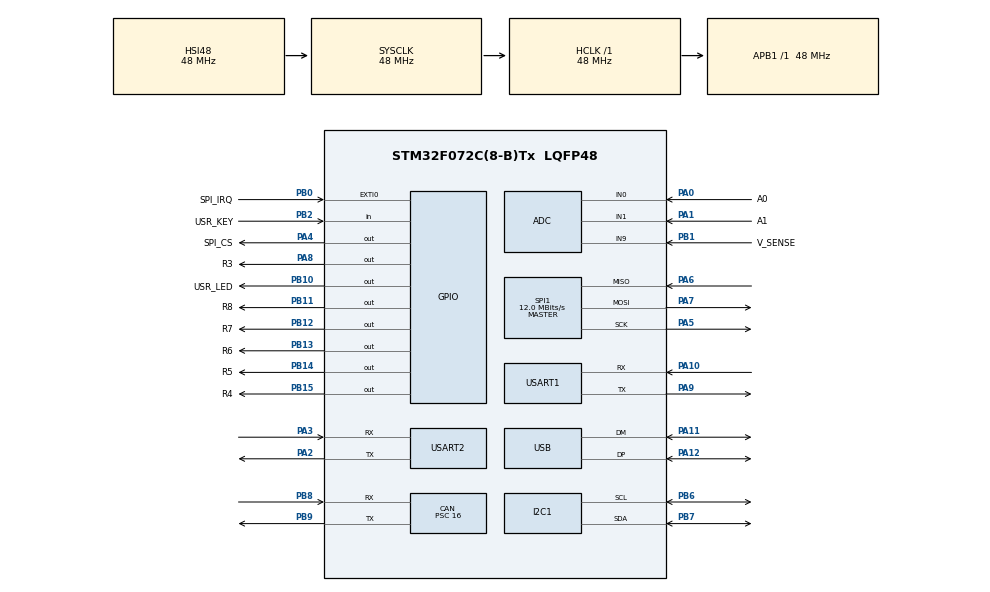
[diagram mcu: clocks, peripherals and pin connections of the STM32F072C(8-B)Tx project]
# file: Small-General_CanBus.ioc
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ADC.ContinuousConvMode=DISABLE
CAN.BS1=CAN_BS1_3TQ
CAN.BS2=CAN_BS2_2TQ
CAN.CalculateBaudRate=500000
CAN.CalculateTimeBit=2000
CAN.CalculateTimeQuantum=333.3333333333333
CAN.Mode=CAN_MODE_NORMAL
CAN.Prescaler=16
CAN.TTCM=DISABLE
Mcu.Family=STM32F0
Mcu.Name=STM32F072C(8-B)Tx
Mcu.Package=LQFP48
NVIC.CEC_CAN_IRQn=true\:0\:0\:false\:false\:true\:true\:true\:true
NVIC.USB_IRQn=true\:0\:0\:false\:false\:true\:false\:true\:true
PA0.GPIO_Label=A0
PA0.Mode=IN0
PA0.Signal=ADC_IN0
PA1.GPIO_Label=A1
PA1.Mode=IN1
PA1.Signal=ADC_IN1
PA10.Mode=Asynchronous
PA10.Signal=USART1_RX
PA11.Mode=Device
PA11.Signal=USB_DM
PA12.Mode=Device
PA12.Signal=USB_DP
PA13.Mode=Serial_Wire
PA13.Signal=SYS_SWDIO
PA14.Mode=Serial_Wire
PA14.Signal=SYS_SWCLK
PA2.Mode=Asynchronous
PA2.Signal=USART2_TX
PA3.Mode=Asynchronous
PA3.Signal=USART2_RX
PA4.GPIO_Label=SPI_CS
PA4.GPIO_PuPd=GPIO_PULLUP
PA4.GPIO_Speed=GPIO_SPEED_FREQ_HIGH
PA4.PinState=GPIO_PIN_SET
PA4.Signal=GPIO_Output
PA5.Mode=Full_Duplex_Master
PA5.Signal=SPI1_SCK
PA6.Mode=Full_Duplex_Master
PA6.Signal=SPI1_MISO
PA7.Mode=Full_Duplex_Master
PA7.Signal=SPI1_MOSI
PA8.GPIO_Label=R3
PA8.Signal=GPIO_Output
PA9.Mode=Asynchronous
PA9.Signal=USART1_TX
PB0.GPIO_Label=SPI_IRQ
PB0.GPIO_ModeDefaultEXTI=GPIO_MODE_IT_RISING_FALLING
PB0.Signal=GPXTI0
PB1.GPIO_Label=V_SENSE
PB1.Mode=IN9
PB1.Signal=ADC_IN9
PB10.GPIO_Label=USR_LED
PB10.GPIO_ModeDefaultOutputPP=GPIO_MODE_OUTPUT_OD
PB10.GPIO_PuPd=GPIO_NOPULL
PB10.Signal=GPIO_Output
PB11.GPIO_Label=R8
PB11.Signal=GPIO_Output
PB12.GPIO_Label=R7
PB12.Signal=GPIO_Output
PB13.GPIO_Label=R6
PB13.Signal=GPIO_Output
PB14.GPIO_Label=R5
PB14.Signal=GPIO_Output
PB15.GPIO_Label=R4
PB15.Signal=GPIO_Output
PB2.GPIO_Label=USR_KEY
PB2.Signal=GPIO_Input
PB6.Mode=I2C
PB6.Signal=I2C1_SCL
PB7.Mode=I2C
PB7.Signal=I2C1_SDA
PB8.Mode=CAN_Activate
PB8.Signal=CAN_RX
PB9.Mode=CAN_Activate
PB9.Signal=CAN_TX
ProjectManager.HeapSize=0x200
ProjectManager.StackSize=0x400
ProjectManager.TargetToolchain=STM32CubeIDE
RCC.AHBFreq_Value=48000000
RCC.APB1Freq_Value=48000000
RCC.APB1TimFreq_Value=48000000
RCC.HCLKFreq_Value=48000000
RCC.SYSCLKFreq_VALUE=48000000
RCC.SYSCLKSource=RCC_SYSCLKSOURCE_HSI48
SPI1.BaudRatePrescaler=SPI_BAUDRATEPRESCALER_4
SPI1.CalculateBaudRate=12.0 MBits/s
SPI1.Direction=SPI_DIRECTION_2LINES
SPI1.Mode=SPI_MODE_MASTER
SPI1.VirtualType=VM_MASTER
USART1.VirtualMode-Asynchronous=VM_ASYNC
USART2.VirtualMode-Asynchronous=VM_ASYNC
USB_DEVICE.CLASS_NAME_FS=CDC
USB_DEVICE.MANUFACTURER_STRING=NVF2
USB_DEVICE.PRODUCT_STRING_CDC_FS=Small-General
USB_DEVICE.VirtualMode=Cdc
USB_DEVICE.VirtualModeFS=Cdc_FS
VP_ADC_TempSens_Input.Mode=IN-TempSens
VP_USB_DEVICE_VS_USB_DEVICE_CDC_FS.Mode=CDC_FS
board=custom

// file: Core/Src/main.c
/* USER CODE BEGIN Header */
/**
  ******************************************************************************
  * @file           : main.c
  * @brief          : Main program body
  ******************************************************************************
  * @attention
  *
  * Copyright (c) 2024 STMicroelectronics.
  * All rights reserved.
  *
  * This software is licensed under terms that can be found in the LICENSE file
  * in the root directory of this software component.
  * If no LICENSE file comes with this software, it is provided AS-IS.
  *
  ******************************************************************************
  */
/* USER CODE END Header */
#include "main.h"
#include "usb_device.h"

/* USER CODE BEGIN Includes */

#include "usbd_cdc_if.h"
#include "stm32f0xx_hal_can.h"
#include "stm32f0xx_it.h"

/* USER CODE END Includes */

ADC_HandleTypeDef hadc;

CAN_HandleTypeDef hcan;

I2C_HandleTypeDef hi2c1;

SPI_HandleTypeDef hspi1;

UART_HandleTypeDef huart1;
UART_HandleTypeDef huart2;

/* USER CODE BEGIN PV */

uint32_t can_id = 0x022;

uint8_t tx_data[4] = {0x11, 0x22, 0x30, 0x40};

uint8_t txData[8];
uint8_t rxData[8];
uint32_t txMailbox;

/* USER CODE END PV */

void SystemClock_Config(void);
static void MX_GPIO_Init(void);
static void MX_ADC_Init(void);
static void MX_CAN_Init(void);
static void MX_I2C1_Init(void);
static void MX_SPI1_Init(void);
static void MX_USART1_UART_Init(void);
static void MX_USART2_UART_Init(void);

/* USER CODE BEGIN 0 */

CAN_FilterTypeDef sFilterConfig;
CAN_TxHeaderTypeDef txHeader;
CAN_RxHeaderTypeDef rxHeader;

/* Function to transmit a CAN message */
void send_can_message(uint32_t id, uint8_t data_length, uint8_t* data) {

  /* Check if data length is within valid range */
  if (data_length > 8) {
    Error_Handler(); // Handle invalid data length
    return;
  }

  /* Configure CAN message header */
  txHeader.IDE = CAN_ID_STD;
  txHeader.StdId = id;
  txHeader.RTR = CAN_RTR_DATA;
  txHeader.DLC = data_length;

  /* Copy data into transmit buffer */
  uint8_t txData[data_length];
  memcpy(txData, data, data_length);

  /* Transmit the CAN message */
  HAL_StatusTypeDef tx_status = HAL_CAN_AddTxMessage(&hcan, &txHeader, txData, &txMailbox);

	if (tx_status != HAL_OK) {
	switch (tx_status) {
	case HAL_ERROR:
	  // Generic hardware error
		CDC_Transmit_FS("CAN: HAL Error\n", strlen("CAN: HAL Error\n"));
	//	        	Error_Handler();
	  break;
	case HAL_BUSY:
	  // CAN peripheral busy
		CDC_Transmit_FS("CAN: Peripheral Busy\n", strlen("CAN: Peripheral Busy\n"));
	//	        	Error_Handler();
	  break;
	case HAL_TIMEOUT:
	  // CAN mailbox timeout
		CDC_Transmit_FS("CAN: Mailbox Timeout\n", strlen("CAN: Mailbox Timeout\n"));
	//	        	Error_Handler();
	  break;
	default:
		CDC_Transmit_FS("CAN: Unknown Error\n", strlen("CAN: Unknown Error\n"));
	//	        	Error_Handler();
	}

	char buf[32];
	uint32_t err_code;
	err_code = HAL_CAN_GetError(&hcan);
	sprintf(buf, "error: %x \n", err_code);
	CDC_Transmit_FS(buf, strlen(buf));

	}

	CDC_Transmit_FS("sending msg\n", strlen("sending msg\n"));

}

/* USER CODE END 0 */

int main(void)
{

  /* MCU Configuration--------------------------------------------------------*/

  /* Reset of all peripherals, Initializes the Flash interface and the Systick. */
  HAL_Init();

  /* Configure the system clock */
  SystemClock_Config();

  /* Initialize all configured peripherals */
  MX_GPIO_Init();
  MX_ADC_Init();
  MX_CAN_Init();
  MX_I2C1_Init();
  MX_SPI1_Init();
  MX_USART1_UART_Init();
  MX_USART2_UART_Init();
  MX_USB_DEVICE_Init();
  /* USER CODE BEGIN 2 */

  sFilterConfig.FilterActivation = ENABLE;
  sFilterConfig.FilterBank = 0; // Filter bank 0 for standard IDs
  sFilterConfig.FilterMode = CAN_FILTERMODE_IDMASK; // Set filter mode to mask
  sFilterConfig.FilterScale = CAN_FILTERSCALE_32BIT; // Use 32-bit filter for standard IDs
  sFilterConfig.FilterIdHigh = 0; // Set all bits to zero for mask
  sFilterConfig.FilterIdLow = 0; // Set all bits to zero for mask
  sFilterConfig.FilterMaskIdHigh = 0xFFFFFFFF; // Set all bits to one for mask
  sFilterConfig.FilterMaskIdLow = 0xFFFFFFFF; // Set all bits to one for mask
  sFilterConfig.FilterFIFOAssignment = CAN_RX_FIFO0; // Assign messages to FIFO0

  HAL_CAN_ConfigFilter(&hcan, &sFilterConfig);

	if (HAL_CAN_ActivateNotification(&hcan, CAN_IT_RX_FIFO0_MSG_PENDING) != HAL_OK)
	{
		Error_Handler();
	}

	if(HAL_CAN_Start(&hcan) != HAL_OK)
	{
		Error_Handler();
	}

  /* USER CODE END 2 */

  /* Infinite loop */
  /* USER CODE BEGIN WHILE */
	uint8_t fifo_level = 0;
	char dbg_buf[64];

  while (1)
  {
    /* USER CODE END WHILE */

    /* USER CODE BEGIN 3 */

	  CDC_Transmit_FS(".\n", strlen(".\n"));

	  if ((tx_data[0]++) > 0xFA) tx_data[0] = 0x01;
	  send_can_message(can_id, sizeof(tx_data), tx_data);

	  fifo_level = HAL_CAN_GetRxFifoFillLevel(&hcan, CAN_RX_FIFO0);
	  sprintf(dbg_buf, "fifo0: %d \n", fifo_level);
	  CDC_Transmit_FS(dbg_buf, strlen(dbg_buf));

	  HAL_Delay(500);
  }
  /* USER CODE END 3 */
}

void SystemClock_Config(void)
{
  RCC_OscInitTypeDef RCC_OscInitStruct = {0};
  RCC_ClkInitTypeDef RCC_ClkInitStruct = {0};
  RCC_PeriphCLKInitTypeDef PeriphClkInit = {0};

  /** Initializes the RCC Oscillators according to the specified parameters
  * in the RCC_OscInitTypeDef structure.
  */
  RCC_OscInitStruct.OscillatorType = RCC_OSCILLATORTYPE_HSI|RCC_OSCILLATORTYPE_HSI14
                              |RCC_OSCILLATORTYPE_HSI48;
  RCC_OscInitStruct.HSIState = RCC_HSI_ON;
  RCC_OscInitStruct.HSI48State = RCC_HSI48_ON;
  RCC_OscInitStruct.HSI14State = RCC_HSI14_ON;
  RCC_OscInitStruct.HSICalibrationValue = RCC_HSICALIBRATION_DEFAULT;
  RCC_OscInitStruct.HSI14CalibrationValue = 16;
  RCC_OscInitStruct.PLL.PLLState = RCC_PLL_NONE;
  if (HAL_RCC_OscConfig(&RCC_OscInitStruct) != HAL_OK)
  {
    Error_Handler();
  }

  /** Initializes the CPU, AHB and APB buses clocks
  */
  RCC_ClkInitStruct.ClockType = RCC_CLOCKTYPE_HCLK|RCC_CLOCKTYPE_SYSCLK
                              |RCC_CLOCKTYPE_PCLK1;
  RCC_ClkInitStruct.SYSCLKSource = RCC_SYSCLKSOURCE_HSI48;
  RCC_ClkInitStruct.AHBCLKDivider = RCC_SYSCLK_DIV1;
  RCC_ClkInitStruct.APB1CLKDivider = RCC_HCLK_DIV1;

  if (HAL_RCC_ClockConfig(&RCC_ClkInitStruct, FLASH_LATENCY_1) != HAL_OK)
  {
    Error_Handler();
  }
  PeriphClkInit.PeriphClockSelection = RCC_PERIPHCLK_USB|RCC_PERIPHCLK_USART1
                              |RCC_PERIPHCLK_USART2|RCC_PERIPHCLK_I2C1;
  PeriphClkInit.Usart1ClockSelection = RCC_USART1CLKSOURCE_PCLK1;
  PeriphClkInit.Usart2ClockSelection = RCC_USART2CLKSOURCE_PCLK1;
  PeriphClkInit.I2c1ClockSelection = RCC_I2C1CLKSOURCE_HSI;
  PeriphClkInit.UsbClockSelection = RCC_USBCLKSOURCE_HSI48;

  if (HAL_RCCEx_PeriphCLKConfig(&PeriphClkInit) != HAL_OK)
  {
    Error_Handler();
  }
}

static void MX_ADC_Init(void)
{

  ADC_ChannelConfTypeDef sConfig = {0};

  /** Configure the global features of the ADC (Clock, Resolution, Data Alignment and number of conversion)
  */
  hadc.Instance = ADC1;
  hadc.Init.ClockPrescaler = ADC_CLOCK_ASYNC_DIV1;
  hadc.Init.Resolution = ADC_RESOLUTION_12B;
  hadc.Init.DataAlign = ADC_DATAALIGN_RIGHT;
  hadc.Init.ScanConvMode = ADC_SCAN_DIRECTION_FORWARD;
  hadc.Init.EOCSelection = ADC_EOC_SINGLE_CONV;
  hadc.Init.LowPowerAutoWait = DISABLE;
  hadc.Init.LowPowerAutoPowerOff = DISABLE;
  hadc.Init.ContinuousConvMode = DISABLE;
  hadc.Init.DiscontinuousConvMode = DISABLE;
  hadc.Init.ExternalTrigConv = ADC_SOFTWARE_START;
  hadc.Init.ExternalTrigConvEdge = ADC_EXTERNALTRIGCONVEDGE_NONE;
  hadc.Init.DMAContinuousRequests = DISABLE;
  hadc.Init.Overrun = ADC_OVR_DATA_PRESERVED;
  if (HAL_ADC_Init(&hadc) != HAL_OK)
  {
    Error_Handler();
  }

  /** Configure for the selected ADC regular channel to be converted.
  */
  sConfig.Channel = ADC_CHANNEL_0;
  sConfig.Rank = ADC_RANK_CHANNEL_NUMBER;
  sConfig.SamplingTime = ADC_SAMPLETIME_1CYCLE_5;
  if (HAL_ADC_ConfigChannel(&hadc, &sConfig) != HAL_OK)
  {
    Error_Handler();
  }

  /** Configure for the selected ADC regular channel to be converted.
  */
  sConfig.Channel = ADC_CHANNEL_1;
  if (HAL_ADC_ConfigChannel(&hadc, &sConfig) != HAL_OK)
  {
    Error_Handler();
  }

  /** Configure for the selected ADC regular channel to be converted.
  */
  sConfig.Channel = ADC_CHANNEL_9;
  if (HAL_ADC_ConfigChannel(&hadc, &sConfig) != HAL_OK)
  {
    Error_Handler();
  }

  /** Configure for the selected ADC regular channel to be converted.
  */
  sConfig.Channel = ADC_CHANNEL_TEMPSENSOR;
  if (HAL_ADC_ConfigChannel(&hadc, &sConfig) != HAL_OK)
  {
    Error_Handler();
  }

}

static void MX_CAN_Init(void)
{

  hcan.Instance = CAN;
  hcan.Init.Prescaler = 16;
  hcan.Init.Mode = CAN_MODE_NORMAL;
  hcan.Init.SyncJumpWidth = CAN_SJW_1TQ;
  hcan.Init.TimeSeg1 = CAN_BS1_3TQ;
  hcan.Init.TimeSeg2 = CAN_BS2_2TQ;
  hcan.Init.TimeTriggeredMode = DISABLE;
  hcan.Init.AutoBusOff = DISABLE;
  hcan.Init.AutoWakeUp = DISABLE;
  hcan.Init.AutoRetransmission = DISABLE;
  hcan.Init.ReceiveFifoLocked = DISABLE;
  hcan.Init.TransmitFifoPriority = DISABLE;
  if (HAL_CAN_Init(&hcan) != HAL_OK)
  {
    Error_Handler();
  }

}

static void MX_I2C1_Init(void)
{

  hi2c1.Instance = I2C1;
  hi2c1.Init.Timing = 0x2000090E;
  hi2c1.Init.OwnAddress1 = 0;
  hi2c1.Init.AddressingMode = I2C_ADDRESSINGMODE_7BIT;
  hi2c1.Init.DualAddressMode = I2C_DUALADDRESS_DISABLE;
  hi2c1.Init.OwnAddress2 = 0;
  hi2c1.Init.OwnAddress2Masks = I2C_OA2_NOMASK;
  hi2c1.Init.GeneralCallMode = I2C_GENERALCALL_DISABLE;
  hi2c1.Init.NoStretchMode = I2C_NOSTRETCH_DISABLE;
  if (HAL_I2C_Init(&hi2c1) != HAL_OK)
  {
    Error_Handler();
  }

  /** Configure Analogue filter
  */
  if (HAL_I2CEx_ConfigAnalogFilter(&hi2c1, I2C_ANALOGFILTER_ENABLE) != HAL_OK)
  {
    Error_Handler();
  }

  /** Configure Digital filter
  */
  if (HAL_I2CEx_ConfigDigitalFilter(&hi2c1, 0) != HAL_OK)
  {
    Error_Handler();
  }

}

static void MX_SPI1_Init(void)
{

  /* SPI1 parameter configuration*/
  hspi1.Instance = SPI1;
  hspi1.Init.Mode = SPI_MODE_MASTER;
  hspi1.Init.Direction = SPI_DIRECTION_2LINES;
  hspi1.Init.DataSize = SPI_DATASIZE_4BIT;
  hspi1.Init.CLKPolarity = SPI_POLARITY_LOW;
  hspi1.Init.CLKPhase = SPI_PHASE_1EDGE;
  hspi1.Init.NSS = SPI_NSS_SOFT;
  hspi1.Init.BaudRatePrescaler = SPI_BAUDRATEPRESCALER_4;
  hspi1.Init.FirstBit = SPI_FIRSTBIT_MSB;
  hspi1.Init.TIMode = SPI_TIMODE_DISABLE;
  hspi1.Init.CRCCalculation = SPI_CRCCALCULATION_DISABLE;
  hspi1.Init.CRCPolynomial = 7;
  hspi1.Init.CRCLength = SPI_CRC_LENGTH_DATASIZE;
  hspi1.Init.NSSPMode = SPI_NSS_PULSE_ENABLE;
  if (HAL_SPI_Init(&hspi1) != HAL_OK)
  {
    Error_Handler();
  }

}

static void MX_USART1_UART_Init(void)
{

  huart1.Instance = USART1;
  huart1.Init.BaudRate = 38400;
  huart1.Init.WordLength = UART_WORDLENGTH_8B;
  huart1.Init.StopBits = UART_STOPBITS_1;
  huart1.Init.Parity = UART_PARITY_NONE;
  huart1.Init.Mode = UART_MODE_TX_RX;
  huart1.Init.HwFlowCtl = UART_HWCONTROL_NONE;
  huart1.Init.OverSampling = UART_OVERSAMPLING_16;
  huart1.Init.OneBitSampling = UART_ONE_BIT_SAMPLE_DISABLE;
  huart1.AdvancedInit.AdvFeatureInit = UART_ADVFEATURE_NO_INIT;
  if (HAL_UART_Init(&huart1) != HAL_OK)
  {
    Error_Handler();
  }

}

static void MX_USART2_UART_Init(void)
{

  huart2.Instance = USART2;
  huart2.Init.BaudRate = 38400;
  huart2.Init.WordLength = UART_WORDLENGTH_8B;
  huart2.Init.StopBits = UART_STOPBITS_1;
  huart2.Init.Parity = UART_PARITY_NONE;
  huart2.Init.Mode = UART_MODE_TX_RX;
  huart2.Init.HwFlowCtl = UART_HWCONTROL_NONE;
  huart2.Init.OverSampling = UART_OVERSAMPLING_16;
  huart2.Init.OneBitSampling = UART_ONE_BIT_SAMPLE_DISABLE;
  huart2.AdvancedInit.AdvFeatureInit = UART_ADVFEATURE_NO_INIT;
  if (HAL_UART_Init(&huart2) != HAL_OK)
  {
    Error_Handler();
  }

}

static void MX_GPIO_Init(void)
{
  GPIO_InitTypeDef GPIO_InitStruct = {0};

  /* GPIO Ports Clock Enable */
  __HAL_RCC_GPIOA_CLK_ENABLE();
  __HAL_RCC_GPIOB_CLK_ENABLE();

  /*Configure GPIO pin Output Level */
  HAL_GPIO_WritePin(SPI_CS_GPIO_Port, SPI_CS_Pin, GPIO_PIN_SET);

  /*Configure GPIO pin Output Level */
  HAL_GPIO_WritePin(GPIOB, USR_LED_Pin|R8_Pin|R7_Pin|R6_Pin
                          |R5_Pin|R4_Pin, GPIO_PIN_RESET);

  /*Configure GPIO pin Output Level */
  HAL_GPIO_WritePin(R3_GPIO_Port, R3_Pin, GPIO_PIN_RESET);

  /*Configure GPIO pin : SPI_CS_Pin */
  GPIO_InitStruct.Pin = SPI_CS_Pin;
  GPIO_InitStruct.Mode = GPIO_MODE_OUTPUT_PP;
  GPIO_InitStruct.Pull = GPIO_PULLUP;
  GPIO_InitStruct.Speed = GPIO_SPEED_FREQ_HIGH;
  HAL_GPIO_Init(SPI_CS_GPIO_Port, &GPIO_InitStruct);

  /*Configure GPIO pin : SPI_IRQ_Pin */
  GPIO_InitStruct.Pin = SPI_IRQ_Pin;
  GPIO_InitStruct.Mode = GPIO_MODE_IT_RISING_FALLING;
  GPIO_InitStruct.Pull = GPIO_NOPULL;
  HAL_GPIO_Init(SPI_IRQ_GPIO_Port, &GPIO_InitStruct);

  /*Configure GPIO pin : USR_KEY_Pin */
  GPIO_InitStruct.Pin = USR_KEY_Pin;
  GPIO_InitStruct.Mode = GPIO_MODE_INPUT;
  GPIO_InitStruct.Pull = GPIO_NOPULL;
  HAL_GPIO_Init(USR_KEY_GPIO_Port, &GPIO_InitStruct);

  /*Configure GPIO pin : USR_LED_Pin */
  GPIO_InitStruct.Pin = USR_LED_Pin;
  GPIO_InitStruct.Mode = GPIO_MODE_OUTPUT_OD;
  GPIO_InitStruct.Pull = GPIO_NOPULL;
  GPIO_InitStruct.Speed = GPIO_SPEED_FREQ_LOW;
  HAL_GPIO_Init(USR_LED_GPIO_Port, &GPIO_InitStruct);

  /*Configure GPIO pins : R8_Pin R7_Pin R6_Pin R5_Pin
                           R4_Pin */
  GPIO_InitStruct.Pin = R8_Pin|R7_Pin|R6_Pin|R5_Pin
                          |R4_Pin;
  GPIO_InitStruct.Mode = GPIO_MODE_OUTPUT_PP;
  GPIO_InitStruct.Pull = GPIO_NOPULL;
  GPIO_InitStruct.Speed = GPIO_SPEED_FREQ_LOW;
  HAL_GPIO_Init(GPIOB, &GPIO_InitStruct);

  /*Configure GPIO pin : R3_Pin */
  GPIO_InitStruct.Pin = R3_Pin;
  GPIO_InitStruct.Mode = GPIO_MODE_OUTPUT_PP;
  GPIO_InitStruct.Pull = GPIO_NOPULL;
  GPIO_InitStruct.Speed = GPIO_SPEED_FREQ_LOW;
  HAL_GPIO_Init(R3_GPIO_Port, &GPIO_InitStruct);

}

void Error_Handler(void)
{
  /* USER CODE BEGIN Error_Handler_Debug */
  /* User can add his own implementation to report the HAL error return state */
  __disable_irq();
  while (1)
  {
	  CDC_Transmit_FS("err\n", strlen("err\n"));
	  HAL_Delay(1000);
  }
  /* USER CODE END Error_Handler_Debug */
}
